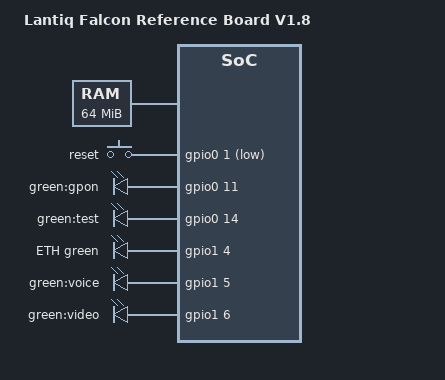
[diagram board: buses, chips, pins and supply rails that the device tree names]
#include <dt-bindings/leds/common.h>

#include "falcon.dtsi"
#include "falcon_sflash-16m.dtsi"

#include <dt-bindings/gpio/gpio.h>

/ {
	model = "Lantiq Falcon Reference Board V1.8";
	compatible = "lantiq,easy98020-v18", "lantiq,easy98020", "lantiq,falcon";

	aliases {
		spi0 = &ebu_cs0;
	};

	memory@0 {
		device_type = "memory";
		reg = <0x0 0x4000000>;  // 64M at 0x0
	};

	keys {
		compatible = "gpio-keys";
		reset {
			label = "reset";
			gpios = <&gpio0 1 GPIO_ACTIVE_LOW>;
			linux,code = <0x198>;
		};
	};

	pinctrl {
		led_pins: led-pins {
			lantiq,pins = "io11", "io14", "io36", "io37", "io38";
			lantiq,function = "gpio";
		};
	};

	leds {
		compatible = "gpio-leds";
		pinctrl-names = "default";
		pinctrl-0 = <&led_pins &bootled_pins>;

		GPON {
			label = "green:gpon";
			gpios = <&gpio0 11 GPIO_ACTIVE_HIGH>;
			default-state = "keep";
		};
		TEST {
			label = "green:test";
			gpios = <&gpio0 14 GPIO_ACTIVE_HIGH>;
			default-state = "keep";
		};
		ETH {
			function = LED_FUNCTION_STATUS;
			color = <LED_COLOR_ID_GREEN>;
			gpios = <&gpio1 4 GPIO_ACTIVE_HIGH>;
			default-state = "keep";
		};
		VOICE {
			label = "green:voice";
			gpios = <&gpio1 5 GPIO_ACTIVE_HIGH>;
			default-state = "keep";
		};
		VIDEO {
			label = "green:video";
			gpios = <&gpio1 6 GPIO_ACTIVE_HIGH>;
			default-state = "keep";
		};
	};
};
